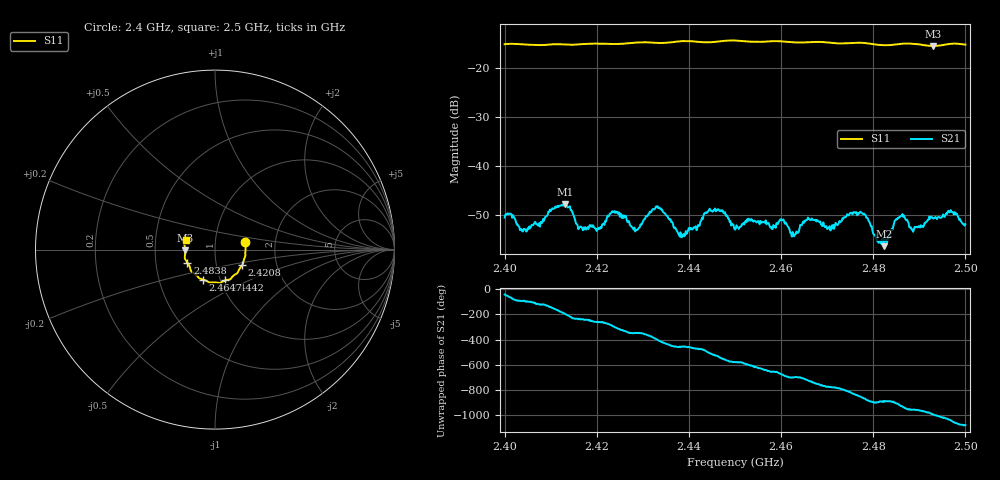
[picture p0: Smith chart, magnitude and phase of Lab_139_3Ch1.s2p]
# Hz S RI R 50
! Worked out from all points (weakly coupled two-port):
!   601 points, 2.4 GHz to 2.5 GHz, reference 50 ohm
!   highest |S21| = -47.76 dB at 2.4132 GHz (marker M1); lowest = -56.4 dB at 2.4823 GHz (marker M2)
!   lowest |S11| = -15.6 dB at 2.493 GHz (marker M3), VSWR 1.40, Z = 35.8 - j0.221 ohm
!   |S11| at or under -10 dB: start of sweep to end of sweep
!   S12 and S22 are empty: the file has one direction only
!   S11 on the Smith chart (normalised r, x): 2.4 GHz: 1.40, +0.12; 2.4208 GHz: 1.33, -0.24; 2.4442 GHz: 1.05, -0.37; 2.4647 GHz: 0.83, -0.29; 2.4838 GHz: 0.73, -0.11; 2.5 GHz: 0.72, +0.08
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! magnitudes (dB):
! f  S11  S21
! 2.4 GHz  -15.3  -50.6
! 2.4043 GHz  -15.3  -52.9
! 2.4132 GHz  -15.3  -47.8
! 2.4167 GHz  -15.2  -52.4
! 2.4208 GHz  -15.1  -52.5
! 2.4238 GHz  -15.2  -49.2
! 2.4288 GHz  -14.9  -53.1
! 2.4333 GHz  -15.0  -48.6
! 2.4385 GHz  -14.6  -54.5
! 2.4442 GHz  -14.9  -49.2
! 2.45 GHz  -14.5  -53.0
! 2.4647 GHz  -14.9  -51.7
! 2.4667 GHz  -14.8  -50.7
! 2.4703 GHz  -14.9  -52.6
! 2.4777 GHz  -15.0  -49.8
! 2.4823 GHz  -15.5  -56.4
! 2.4833 GHz  -15.5  -54.5
! 2.4838 GHz  -15.4  -53.7
! 2.4862 GHz  -15.2  -50.2
! 2.4883 GHz  -15.2  -53.0
! 2.493 GHz  -15.6  -50.7
! 2.5 GHz  -15.3  -51.9
